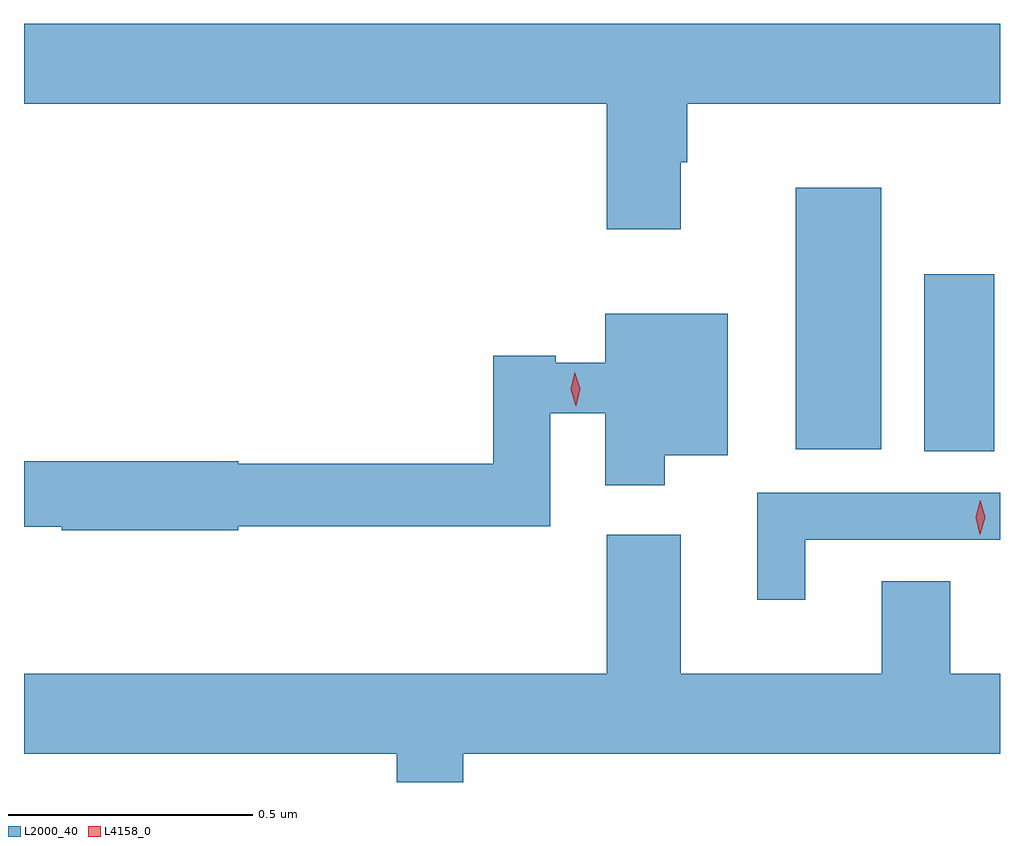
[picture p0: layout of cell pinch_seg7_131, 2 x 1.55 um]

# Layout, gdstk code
import gdstk
lib = gdstk.Library(unit=1e-6, precision=1e-09)
def R(c, l, rs):  # rectangles x0, y0, x1, y1
    for r in rs: c.add(gdstk.rectangle(r[:2], r[2:], *l))
def P(c, l, *ps):  # polygons
    for p in ps: c.add(gdstk.Polygon(p, *l))
L2000_40 = (2000, 40)
L4158_0 = (4158, 0)

pinch_seg7_131 = lib.new_cell('pinch_seg7_131')
R(pinch_seg7_131, L2000_40, [(915.044,1010.56,915.187,1010.923), (914.78,1010.564,914.956,1011.1)])
P(pinch_seg7_131, L2000_40, [(914.545,1011.152),(914.558,1011.152),(914.558,1011.272),(915.199,1011.272),(915.199,1011.436),(913.199,1011.436),(913.199,1011.272),(914.393,1011.272),(914.393,1011.015),(914.545,1011.015)],
  [(913.638,1010.406),(914.277,1010.406),(914.277,1010.638),(914.39,1010.638),(914.39,1010.49),(914.512,1010.49),(914.512,1010.552),(914.641,1010.552),(914.641,1010.842),(914.39,1010.842),(914.39,1010.741),(914.289,1010.741),(914.289,1010.756),(914.161,1010.756),(914.161,1010.534),(913.638,1010.534),(913.638,1010.54),(913.199,1010.54),(913.199,1010.405),(913.276,1010.405),(913.276,1010.398),(913.638,1010.398)],
  [(914.8,1010.379),(915.199,1010.379),(915.199,1010.475),(914.702,1010.475),(914.702,1010.256),(914.8,1010.256)],
  [(914.099,1009.94),(915.199,1009.94),(915.199,1010.104),(915.097,1010.104),(915.097,1010.294),(914.957,1010.294),(914.957,1010.104),(914.545,1010.104),(914.545,1010.389),(914.393,1010.389),(914.393,1010.104),(913.199,1010.104),(913.199,1009.94),(913.963,1009.94),(913.963,1009.882),(914.099,1009.882)])
P(pinch_seg7_131, L4158_0, [(915.158,1010.39),(915.158,1010.39),(915.149,1010.425),(915.159,1010.46),(915.159,1010.46),(915.159,1010.46),(915.169,1010.425),(915.159,1010.39)],
  [(914.33,1010.653),(914.319,1010.687),(914.328,1010.722),(914.328,1010.722),(914.328,1010.722),(914.339,1010.688),(914.331,1010.653),(914.331,1010.653)])

lib.write_gds('pinch_seg7_131.gds')
